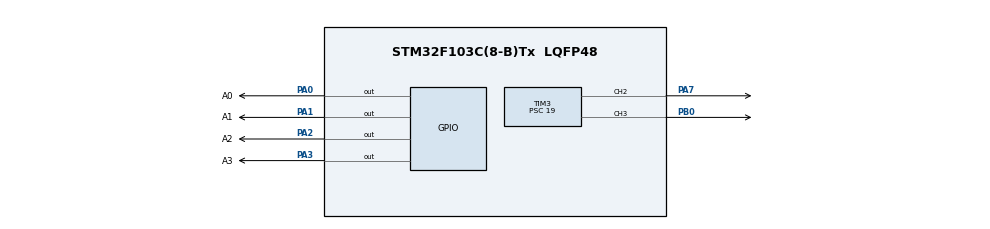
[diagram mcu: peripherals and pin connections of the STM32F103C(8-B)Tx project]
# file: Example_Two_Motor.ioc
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Mcu.Family=STM32F1
Mcu.Name=STM32F103C(8-B)Tx
Mcu.Package=LQFP48
NVIC.PriorityGroup=NVIC_PRIORITYGROUP_4
PA0-WKUP.GPIO_Label=A0
PA0-WKUP.Signal=GPIO_Output
PA1.GPIO_Label=A1
PA1.Signal=GPIO_Output
PA13.Mode=Serial_Wire
PA13.Signal=SYS_JTMS-SWDIO
PA14.Mode=Serial_Wire
PA14.Signal=SYS_JTCK-SWCLK
PA2.GPIO_Label=A2
PA2.Signal=GPIO_Output
PA3.GPIO_Label=A3
PA3.Signal=GPIO_Output
PA7.Signal=S_TIM3_CH2
PB0.Signal=S_TIM3_CH3
PD0-OSC_IN.Mode=HSE-External-Oscillator
PD0-OSC_IN.Signal=RCC_OSC_IN
PD1-OSC_OUT.Mode=HSE-External-Oscillator
PD1-OSC_OUT.Signal=RCC_OSC_OUT
ProjectManager.HeapSize=0x200
ProjectManager.StackSize=0x400
ProjectManager.TargetToolchain=MDK-ARM V5.32
RCC.AHBCLKDivider=RCC_SYSCLK_DIV16
RCC.AHBFreq_Value=500000
RCC.APB1CLKDivider=RCC_HCLK_DIV16
RCC.APB1Freq_Value=31250
RCC.APB1TimFreq_Value=62500
RCC.APB2CLKDivider=RCC_HCLK_DIV16
RCC.APB2Freq_Value=31250
RCC.APB2TimFreq_Value=62500
RCC.HCLKFreq_Value=500000
SH.S_TIM3_CH2.0=TIM3_CH2,PWM Generation2 CH2
SH.S_TIM3_CH3.0=TIM3_CH3,PWM Generation3 CH3
TIM3.Channel-PWM\ Generation2\ CH2=TIM_CHANNEL_2
TIM3.Channel-PWM\ Generation3\ CH3=TIM_CHANNEL_3
TIM3.Period=1000
TIM3.Prescaler=19
TIM3.Pulse-PWM\ Generation2\ CH2=500
TIM3.Pulse-PWM\ Generation3\ CH3=500
VP_TIM3_VS_ClockSourceINT.Mode=Internal
board=custom

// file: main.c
/* USER CODE BEGIN Header */
/**
  ******************************************************************************
  * @file           : main.c
  * @brief          : Main program body
  ******************************************************************************
  * @attention
  *
  * Copyright (c) 2022 STMicroelectronics.
  * All rights reserved.
  *
  * This software is licensed under terms that can be found in the LICENSE file
  * in the root directory of this software component.
  * If no LICENSE file comes with this software, it is provided AS-IS.
  *
  ******************************************************************************
  */
/* USER CODE END Header */
#include "main.h"
#include "tim.h"
#include "gpio.h"

void SystemClock_Config(void);
/* USER CODE BEGIN PFP */
///------------------CarGo-------------------
void CarGo(void){
   __HAL_TIM_SET_COMPARE (&htim3, TIM_CHANNEL_2, 300);
   __HAL_TIM_SET_COMPARE (&htim3, TIM_CHANNEL_3, 300);

  HAL_GPIO_WritePin(GPIOA, A0_Pin, GPIO_PIN_SET);
  HAL_GPIO_WritePin(GPIOA, A1_Pin, GPIO_PIN_RESET);

  HAL_GPIO_WritePin(GPIOA, A2_Pin, GPIO_PIN_SET);
  HAL_GPIO_WritePin(GPIOA, A3_Pin, GPIO_PIN_RESET);

}
///------------------CarStop-------------------
void CarStop(void){
   __HAL_TIM_SET_COMPARE (&htim3, TIM_CHANNEL_2, 900);
   __HAL_TIM_SET_COMPARE (&htim3, TIM_CHANNEL_3, 900);

  HAL_GPIO_WritePin(GPIOA, A0_Pin, GPIO_PIN_SET);
  HAL_GPIO_WritePin(GPIOA, A1_Pin, GPIO_PIN_SET);

  HAL_GPIO_WritePin(GPIOA, A2_Pin, GPIO_PIN_SET);
  HAL_GPIO_WritePin(GPIOA, A3_Pin, GPIO_PIN_SET);

}
///------------------CarLeftAround-------------------
void CarLeftAround(void){
   __HAL_TIM_SET_COMPARE (&htim3, TIM_CHANNEL_2, 400);
   __HAL_TIM_SET_COMPARE (&htim3, TIM_CHANNEL_3, 400);

  HAL_GPIO_WritePin(GPIOA, A0_Pin, GPIO_PIN_SET);
  HAL_GPIO_WritePin(GPIOA, A1_Pin, GPIO_PIN_RESET);

  HAL_GPIO_WritePin(GPIOA, A2_Pin, GPIO_PIN_RESET);
  HAL_GPIO_WritePin(GPIOA, A3_Pin, GPIO_PIN_SET);

}
///------------------CarRightAround-------------------
void CarRightAround(void){
   __HAL_TIM_SET_COMPARE (&htim3, TIM_CHANNEL_2, 400);
   __HAL_TIM_SET_COMPARE (&htim3, TIM_CHANNEL_3, 400);

  HAL_GPIO_WritePin(GPIOA, A0_Pin, GPIO_PIN_RESET);
  HAL_GPIO_WritePin(GPIOA, A1_Pin, GPIO_PIN_SET);

  HAL_GPIO_WritePin(GPIOA, A2_Pin, GPIO_PIN_SET);
  HAL_GPIO_WritePin(GPIOA, A3_Pin, GPIO_PIN_RESET);

}
///------------------CarBack-------------------
void CarBack(void){
   __HAL_TIM_SET_COMPARE (&htim3, TIM_CHANNEL_2, 300);
   __HAL_TIM_SET_COMPARE (&htim3, TIM_CHANNEL_3, 300);

  HAL_GPIO_WritePin(GPIOA, A0_Pin, GPIO_PIN_RESET);
  HAL_GPIO_WritePin(GPIOA, A1_Pin, GPIO_PIN_SET);

  HAL_GPIO_WritePin(GPIOA, A2_Pin, GPIO_PIN_RESET);
  HAL_GPIO_WritePin(GPIOA, A3_Pin, GPIO_PIN_SET);

}
///------------------CarLeft-------------------
void CarLeft(void){
   __HAL_TIM_SET_COMPARE (&htim3, TIM_CHANNEL_2, 300);
   __HAL_TIM_SET_COMPARE (&htim3, TIM_CHANNEL_3, 900);

  HAL_GPIO_WritePin(GPIOA, A0_Pin, GPIO_PIN_SET);
  HAL_GPIO_WritePin(GPIOA, A1_Pin, GPIO_PIN_RESET);

  HAL_GPIO_WritePin(GPIOA, A2_Pin, GPIO_PIN_SET);
  HAL_GPIO_WritePin(GPIOA, A3_Pin, GPIO_PIN_RESET);

}
///------------------CarBigLeft-------------------
void CarBigLeft(void){
   __HAL_TIM_SET_COMPARE (&htim3, TIM_CHANNEL_2, 100);
   __HAL_TIM_SET_COMPARE (&htim3, TIM_CHANNEL_3, 900);

  HAL_GPIO_WritePin(GPIOA, A0_Pin, GPIO_PIN_SET);
  HAL_GPIO_WritePin(GPIOA, A1_Pin, GPIO_PIN_RESET);

  HAL_GPIO_WritePin(GPIOA, A2_Pin, GPIO_PIN_SET);
  HAL_GPIO_WritePin(GPIOA, A3_Pin, GPIO_PIN_RESET);

}
//////////++++++++++++++++++++
///------------------CarRight-------------------
void CarRight(void){
   __HAL_TIM_SET_COMPARE (&htim3, TIM_CHANNEL_2, 900);
   __HAL_TIM_SET_COMPARE (&htim3, TIM_CHANNEL_3, 300);

  HAL_GPIO_WritePin(GPIOA, A0_Pin, GPIO_PIN_SET);
  HAL_GPIO_WritePin(GPIOA, A1_Pin, GPIO_PIN_RESET);

  HAL_GPIO_WritePin(GPIOA, A2_Pin, GPIO_PIN_SET);
  HAL_GPIO_WritePin(GPIOA, A3_Pin, GPIO_PIN_RESET);

}
///------------------CarBigRight-------------------
void CarBigRight(void){
   __HAL_TIM_SET_COMPARE (&htim3, TIM_CHANNEL_2, 900);
   __HAL_TIM_SET_COMPARE (&htim3, TIM_CHANNEL_3, 100);

  HAL_GPIO_WritePin(GPIOA, A0_Pin, GPIO_PIN_SET);
  HAL_GPIO_WritePin(GPIOA, A1_Pin, GPIO_PIN_RESET);

  HAL_GPIO_WritePin(GPIOA, A2_Pin, GPIO_PIN_SET);
  HAL_GPIO_WritePin(GPIOA, A3_Pin, GPIO_PIN_RESET);

}
/* USER CODE END PFP */

int main(void)
{

  /* MCU Configuration--------------------------------------------------------*/

  /* Reset of all peripherals, Initializes the Flash interface and the Systick. */
  HAL_Init();

  /* Configure the system clock */
  SystemClock_Config();

  /* Initialize all configured peripherals */
  MX_GPIO_Init();
  MX_TIM3_Init();
  /* USER CODE BEGIN 2 */
	HAL_TIM_Base_Start(&htim3);
	HAL_TIM_PWM_Start(&htim3,TIM_CHANNEL_2);
	HAL_TIM_PWM_Start(&htim3,TIM_CHANNEL_3);

  /* USER CODE END 2 */

  /* Infinite loop */
  while (1)
  {

    /* USER CODE BEGIN 3 */
		CarGo();
		HAL_Delay(1000);

		CarStop();
		HAL_Delay(1000);

		CarLeftAround();
		HAL_Delay(1000);

		CarRightAround();
		HAL_Delay(1000);

		CarBack();
		HAL_Delay(1000);

		CarLeft();
		HAL_Delay(1000);

		CarBigLeft();
		HAL_Delay(1000);

		CarRight();
		HAL_Delay(1000);

		CarBigRight();
		HAL_Delay(1000);

	/*
	__HAL_TIM_SET_COMPARE(&htim3,TIM_CHANNEL_3,75);
	HAL_GPIO_WritePin(GPIOA,A0_Pin,GPIO_PIN_SET);
  HAL_GPIO_WritePin(GPIOA,A1_Pin,GPIO_PIN_RESET);

 	__HAL_TIM_SET_COMPARE(&htim3,TIM_CHANNEL_2,50);
  HAL_GPIO_WritePin(GPIOA,A2_Pin,GPIO_PIN_SET);
  HAL_GPIO_WritePin(GPIOA,A3_Pin,GPIO_PIN_RESET);*/

  }
  /* USER CODE END 3 */
}

void SystemClock_Config(void)
{
  RCC_OscInitTypeDef RCC_OscInitStruct = {0};
  RCC_ClkInitTypeDef RCC_ClkInitStruct = {0};

  /** Initializes the RCC Oscillators according to the specified parameters
  * in the RCC_OscInitTypeDef structure.
  */
  RCC_OscInitStruct.OscillatorType = RCC_OSCILLATORTYPE_HSI;
  RCC_OscInitStruct.HSIState = RCC_HSI_ON;
  RCC_OscInitStruct.HSICalibrationValue = RCC_HSICALIBRATION_DEFAULT;
  RCC_OscInitStruct.PLL.PLLState = RCC_PLL_NONE;
  if (HAL_RCC_OscConfig(&RCC_OscInitStruct) != HAL_OK)
  {
    Error_Handler();
  }
  /** Initializes the CPU, AHB and APB buses clocks
  */
  RCC_ClkInitStruct.ClockType = RCC_CLOCKTYPE_HCLK|RCC_CLOCKTYPE_SYSCLK
                              |RCC_CLOCKTYPE_PCLK1|RCC_CLOCKTYPE_PCLK2;
  RCC_ClkInitStruct.SYSCLKSource = RCC_SYSCLKSOURCE_HSI;
  RCC_ClkInitStruct.AHBCLKDivider = RCC_SYSCLK_DIV16;
  RCC_ClkInitStruct.APB1CLKDivider = RCC_HCLK_DIV16;
  RCC_ClkInitStruct.APB2CLKDivider = RCC_HCLK_DIV16;

  if (HAL_RCC_ClockConfig(&RCC_ClkInitStruct, FLASH_LATENCY_0) != HAL_OK)
  {
    Error_Handler();
  }
}

void Error_Handler(void)
{
  __disable_irq();
  while (1)
  {
  }
}
